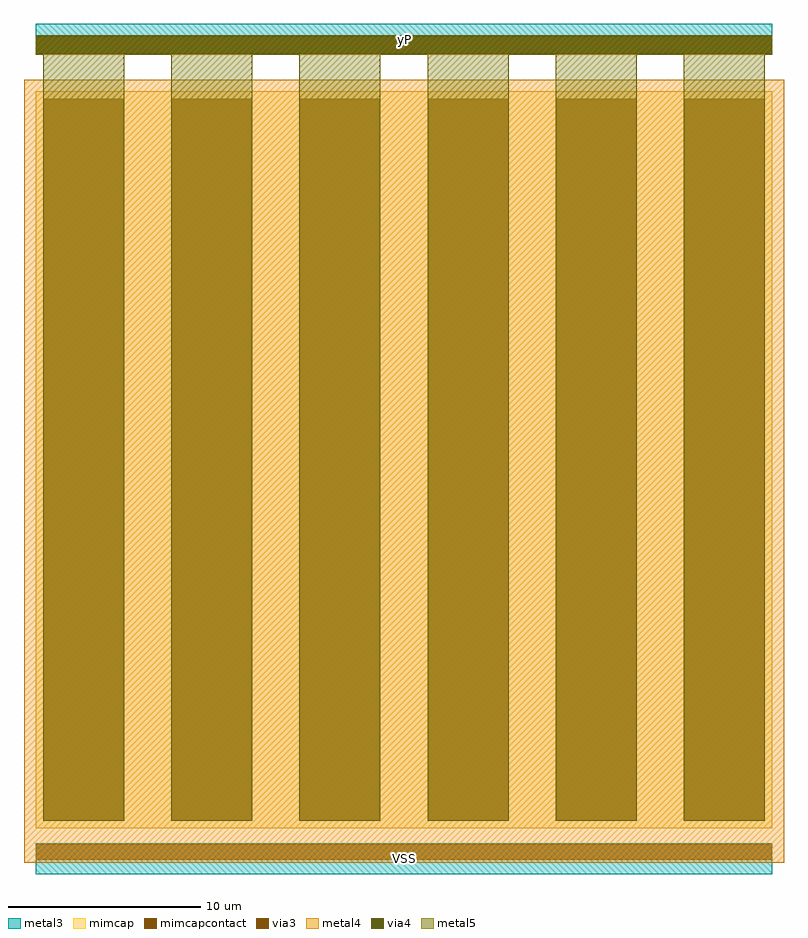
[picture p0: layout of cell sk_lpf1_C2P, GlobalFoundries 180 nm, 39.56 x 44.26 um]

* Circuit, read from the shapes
.subckt sk_lpf1_C2P yP VSS
XC1 yP VSS cap_mim_2f0fF c_width=38.36u c_length=38.36u
.ends

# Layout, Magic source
magic
tech gf180mcuD
magscale 1 10
<< metal3 >>
rect 0 -340 7672 -160
rect 0 8052 7672 8252
rect 0 8052 7672 8372
rect 0 8052 7672 8372
rect 0 -480 7672 -160
rect 0 -480 7672 -160
<< metal4 >>
rect -120 -360 7792 7792
rect 0 -340 7672 -160
rect 0 8052 7672 8252
rect 0 8052 7672 8252
<< mimcap >>
rect 0 0 7672 7672
<< metal5 >>
rect 78 78 922 8152
rect 1412 78 2256 8152
rect 2747 78 3591 8152
rect 4081 78 4925 8152
rect 5416 78 6260 8152
rect 6750 78 7594 8152
rect 0 8052 7672 8252
rect 0 8052 7672 8252
<< via3 >>
rect 10 -330 7662 -170
rect 10 8062 7662 8242
<< via4 >>
rect 10 8062 7662 8242
<< mimcapcontact >>
rect 78 78 922 7594
rect 1412 78 2256 7594
rect 2747 78 3591 7594
rect 4081 78 4925 7594
rect 5416 78 6260 7594
rect 6750 78 7594 7594
<< labels >>
flabel metal3 s 0 8052 7672 8372 0 FreeSans 80 0 0 0 yP
port 1 nsew signal bidirectional
flabel metal3 s 0 -480 7672 -160 0 FreeSans 80 0 0 0 VSS
port 2 nsew signal bidirectional
<< end >>
